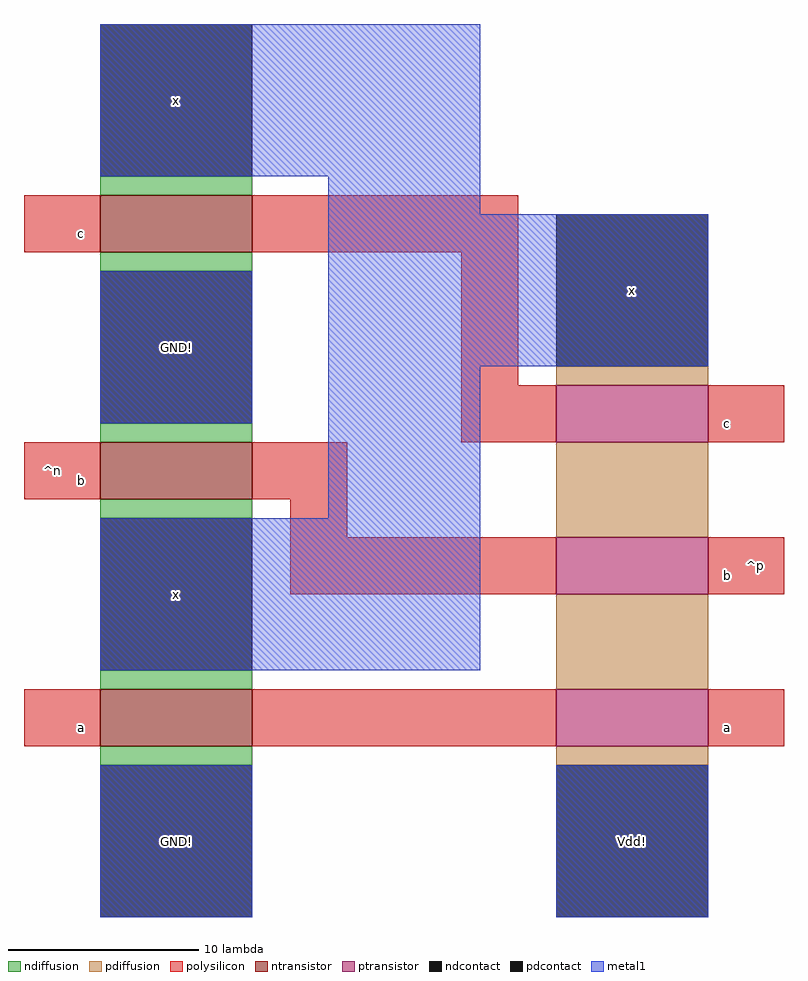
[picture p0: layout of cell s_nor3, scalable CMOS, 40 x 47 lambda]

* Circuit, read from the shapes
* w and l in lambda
.subckt s_nor3 GND! Vdd! a b c x
M1 x a GND! VSUBS nfet w=8 l=3
M2 GND! b x VSUBS nfet w=8 l=3
M3 x c GND! VSUBS nfet w=8 l=3
M4 n1 a Vdd! NWELL pfet w=8 l=3
M5 n2 b n1 NWELL pfet w=8 l=3
M6 x c n2 NWELL pfet w=8 l=3
.ends

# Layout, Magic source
magic
tech scmos
<< ndiffusion >>
rect -44 459 -36 460
rect -44 455 -36 456
rect -44 446 -36 447
rect -44 442 -36 443
rect -44 433 -36 434
rect -44 429 -36 430
<< pdiffusion >>
rect -20 449 -12 450
rect -20 441 -12 446
rect -20 433 -12 438
rect -20 429 -12 430
<< ntransistor >>
rect -44 456 -36 459
rect -44 443 -36 446
rect -44 430 -36 433
<< ptransistor >>
rect -20 446 -12 449
rect -20 438 -12 441
rect -20 430 -12 433
<< polysilicon >>
rect -48 456 -44 459
rect -36 456 -22 459
rect -25 449 -22 456
rect -25 446 -20 449
rect -12 446 -8 449
rect -48 443 -44 446
rect -36 443 -31 446
rect -34 441 -31 443
rect -34 438 -20 441
rect -12 438 -8 441
rect -48 430 -44 433
rect -36 430 -20 433
rect -12 430 -8 433
<< ndcontact >>
rect -44 460 -36 468
rect -44 447 -36 455
rect -44 434 -36 442
rect -44 421 -36 429
<< pdcontact >>
rect -20 450 -12 458
rect -20 421 -12 429
<< metal1 >>
rect -44 460 -24 468
rect -32 458 -24 460
rect -44 447 -36 455
rect -32 450 -12 458
rect -32 442 -24 450
rect -44 434 -24 442
rect -44 421 -36 429
rect -20 421 -12 429
<< labels >>
rlabel metal1 -40 438 -40 438 1 x
rlabel polysilicon -11 431 -11 431 7 a
rlabel polysilicon -11 439 -11 439 7 b
rlabel polysilicon -45 444 -45 444 1 b
rlabel polysilicon -45 431 -45 431 1 a
rlabel metal1 -16 454 -16 454 1 x
rlabel polysilicon -11 447 -11 447 7 c
rlabel metal1 -40 464 -40 464 5 x
rlabel polysilicon -45 457 -45 457 1 c
rlabel metal1 -16 425 -16 425 1 Vdd!
rlabel metal1 -40 425 -40 425 1 GND!
rlabel metal1 -40 451 -40 451 1 GND!
rlabel space -49 421 -44 468 7 ^n
rlabel space -12 421 -7 458 3 ^p
<< end >>
